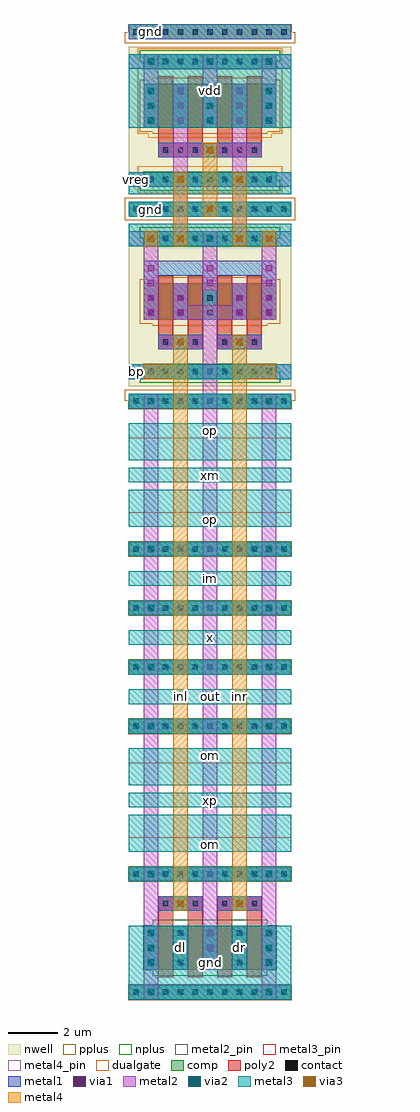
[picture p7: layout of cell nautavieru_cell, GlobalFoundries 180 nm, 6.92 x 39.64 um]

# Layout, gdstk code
import gdstk
lib = gdstk.Library(unit=1e-6, precision=1e-09)
def R(c, l, rs):  # rectangles x0, y0, x1, y1
    for r in rs: c.add(gdstk.rectangle(r[:2], r[2:], *l))
def A(c, l, x, y, w, h, nx, ny, dx, dy):  # array of equal rectangles
    R(c, l, [(x+i*dx, y+j*dy, x+i*dx+w, y+j*dy+h) for i in range(nx) for j in range(ny)])
nwell = (21, 0)
comp = (22, 0)
poly2 = (30, 0)
pplus = (31, 0)
nplus = (32, 0)
contact = (33, 0)
metal1 = (34, 0)
via1 = (35, 0)
metal2 = (36, 0)
metal2_pin = (36, 10)
via2 = (38, 0)
via3 = (40, 0)
metal3 = (42, 0)
metal3_pin = (42, 10)
metal4 = (46, 0)
metal4_pin = (46, 10)
dualgate = (55, 0)

nautavieru_cell = lib.new_cell('nautavieru_cell')
R(nautavieru_cell, nwell, [(-36,18.3,-29.4,24.9), (-36,26.1,-29.4,32.1)])
A(nautavieru_cell, comp, -36, 4.2, 6.6, 0.6, 1, 4, 0, 2.4)
R(nautavieru_cell, comp, [(-36,-6.6,-29.4,-6), (-35.4,-5.4,-30,-3.6), (-36,-1.8,-29.4,-1.2), (-36,17.4,-29.4,18), (-35.4,18.6,-30,19.2), (-35.4,21,-30,22.5), (-35.4,24,-30,24.6), (-36,25.2,-29.4,25.8), (-35.4,26.4,-30,27), (-35.4,28.8,-30,30.6), (-35.4,31.2,-30,31.8), (-36,32.4,-29.4,33)])
A(nautavieru_cell, poly2, -34.8, -5.7, 0.6, 2.7, 4, 2, 1.2, 33.9)
A(nautavieru_cell, poly2, -34.8, 20.4, 0.6, 2.4, 4, 1, 1.2, 0)
R(nautavieru_cell, poly2, [(-34.8,-3,-33,-2.4), (-32.4,-3,-30.6,-2.4), (-34.8,19.8,-33,20.4), (-32.4,19.8,-30.6,20.4), (-34.8,27.6,-30.6,28.2)])
A(nautavieru_cell, pplus, -36.02, 4.18, 6.64, 0.64, 1, 4, 0, 2.4)
R(nautavieru_cell, pplus, [(-36.02,-6.62,-29.38,-5.98), (-36.02,-1.82,-29.38,-1.18), (-36.02,17.38,-29.38,17.71), (-36.16,17.71,-29.24,18.16), (-35.03,20.77,-30.37,20.84), (-35.56,20.84,-29.84,22.66), (-35.03,22.66,-30.37,22.73), (-36.16,25.04,-29.24,25.96), (-35.03,28.57,-30.37,28.64), (-35.56,28.64,-29.84,30.76), (-35.03,30.76,-30.37,30.83), (-36.16,32.24,-29.24,32.69), (-36.02,32.69,-29.38,33.02)])
R(nautavieru_cell, nplus, [(-35.03,-5.63,-30.37,-5.42), (-35.42,-5.42,-29.98,-3.58), (-35.03,-3.58,-30.37,-3.37), (-35.56,18.44,-29.84,18.89), (-35.42,18.89,-29.98,19.22), (-35.42,23.98,-29.98,24.31), (-35.56,24.31,-29.84,24.76), (-35.56,26.24,-29.84,26.69), (-35.42,26.69,-29.98,27.02), (-35.42,31.18,-29.98,31.51), (-35.56,31.51,-29.84,31.96)])
A(nautavieru_cell, contact, -35.81, -6.41, 0.22, 0.22, 11, 2, 0.6, 4.8)
A(nautavieru_cell, contact, -35.21, -5.21, 0.22, 0.22, 5, 3, 1.2, 0.6)
A(nautavieru_cell, contact, -34.61, -2.81, 0.22, 0.22, 3, 2, 0.6, 22.8)
A(nautavieru_cell, contact, -32.21, -2.81, 0.22, 0.22, 3, 2, 0.6, 22.8)
A(nautavieru_cell, contact, -35.81, 4.39, 0.22, 0.22, 11, 4, 0.6, 2.4)
A(nautavieru_cell, contact, -35.81, 17.59, 0.22, 0.22, 11, 2, 0.6, 7.8)
A(nautavieru_cell, contact, -35.21, 18.79, 0.22, 0.22, 9, 2, 0.6, 5.4)
A(nautavieru_cell, contact, -35.21, 21.19, 0.22, 0.22, 5, 2, 1.2, 0.6)
A(nautavieru_cell, contact, -35.21, 26.59, 0.22, 0.22, 9, 2, 0.6, 4.8)
A(nautavieru_cell, contact, -34.61, 27.79, 0.22, 0.22, 7, 1, 0.6, 0)
A(nautavieru_cell, contact, -35.21, 28.99, 0.22, 0.22, 5, 3, 1.2, 0.6)
A(nautavieru_cell, contact, -35.81, 32.59, 0.22, 0.22, 11, 1, 0.6, 0)
A(nautavieru_cell, metal1, -35.4, -5.4, 0.6, 1.8, 5, 2, 1.2, 34.2)
A(nautavieru_cell, metal1, -36, 4.2, 6.6, 0.6, 1, 4, 0, 2.4)
A(nautavieru_cell, metal1, -35.4, 21, 0.6, 1.8, 3, 1, 2.4, 0)
A(nautavieru_cell, metal1, -36, 24, 6.6, 0.6, 1, 3, 0, 1.2)
R(nautavieru_cell, metal1, [(-36,-6.6,-29.4,-6), (-34.8,-3,-33,-2.4), (-32.4,-3,-30.6,-2.4), (-36,-1.8,-29.4,-1.2), (-36,17.4,-29.4,18), (-36,18.6,-29.4,19.2), (-34.8,19.8,-33,20.4), (-32.4,19.8,-30.6,20.4), (-34.2,21,-33.6,22.5), (-31.8,21,-31.2,22.5), (-35.4,22.8,-30,23.4), (-34.8,27.6,-30.6,28.2), (-36,31.2,-29.4,31.8), (-36,32.4,-29.4,33)])
A(nautavieru_cell, via1, -35.23, -5.23, 0.26, 0.26, 3, 3, 2.4, 0.6)
A(nautavieru_cell, via1, -35.23, 4.37, 0.26, 0.26, 1, 4, 0, 2.4)
A(nautavieru_cell, via1, -30.43, 4.37, 0.26, 0.26, 1, 4, 0, 2.4)
A(nautavieru_cell, via1, -35.23, 22.37, 0.26, 0.26, 3, 2, 2.4, 0.6)
A(nautavieru_cell, via1, -35.23, 28.97, 0.26, 0.26, 5, 3, 1.2, 0.6)
A(nautavieru_cell, via1, -35.23, 31.37, 0.26, 0.26, 3, 1, 2.4, 0)
R(nautavieru_cell, via1, [(-35.23,-6.43,-34.97,-6.17), (-30.43,-6.43,-30.17,-6.17), (-34.03,-2.83,-33.77,-2.57), (-31.63,-2.83,-31.37,-2.57), (-35.23,-1.63,-34.97,-1.37), (-30.43,-1.63,-30.17,-1.37), (-35.23,17.57,-34.97,17.83), (-30.43,17.57,-30.17,17.83), (-35.23,18.77,-34.97,19.03), (-30.43,18.77,-30.17,19.03), (-34.03,19.97,-33.77,20.23), (-31.63,19.97,-31.37,20.23), (-35.23,21.17,-34.97,21.43), (-34.03,21.17,-33.77,21.43), (-31.63,21.17,-31.37,21.43), (-30.43,21.17,-30.17,21.43), (-35.23,21.77,-34.97,22.03), (-34.03,21.77,-33.77,22.03), (-31.63,21.77,-31.37,22.03), (-30.43,21.77,-30.17,22.03), (-32.83,27.77,-32.57,28.03)])
A(nautavieru_cell, metal2, -35.4, 28.8, 0.6, 3, 3, 1, 2.4, 0)
R(nautavieru_cell, metal2, [(-35.4,-6.6,-34.8,18), (-30.6,-6.6,-30,18), (-33,-5.4,-32.4,21), (-34.2,-3,-33.6,-2.4), (-31.8,-3,-31.2,-2.4), (-35.4,18.6,-34.8,19.2), (-30.6,18.6,-30,19.2), (-34.2,19.8,-33.6,20.4), (-31.8,19.8,-31.2,20.4), (-35.4,21,-34.8,24.6), (-34.2,21,-31.2,21.6), (-30.6,21,-30,24.6), (-34.2,21.6,-33.6,22.5), (-31.8,21.6,-31.2,22.5), (-33,22.2,-32.4,24.6), (-34.2,24,-33.6,30.6), (-31.8,24,-31.2,30.6), (-33,27.6,-32.4,28.2)])
R(nautavieru_cell, metal2_pin, [(-33,-0.6,-32.4,12)])
A(nautavieru_cell, via2, -35.23, -5.23, 0.26, 0.26, 1, 3, 0, 0.6)
A(nautavieru_cell, via2, -30.43, -5.23, 0.26, 0.26, 1, 3, 0, 0.6)
A(nautavieru_cell, via2, -35.23, 4.37, 0.26, 0.26, 1, 4, 0, 2.4)
A(nautavieru_cell, via2, -30.43, 4.37, 0.26, 0.26, 1, 4, 0, 2.4)
A(nautavieru_cell, via2, -35.23, 24.17, 0.26, 0.26, 5, 1, 1.2, 0)
A(nautavieru_cell, via2, -35.23, 28.97, 0.26, 0.26, 3, 3, 2.4, 0.6)
A(nautavieru_cell, via2, -35.23, 31.37, 0.26, 0.26, 3, 1, 2.4, 0)
R(nautavieru_cell, via2, [(-35.23,-6.43,-34.97,-6.17), (-30.43,-6.43,-30.17,-6.17), (-34.03,-2.83,-33.77,-2.57), (-31.63,-2.83,-31.37,-2.57), (-35.23,-1.63,-34.97,-1.37), (-30.43,-1.63,-30.17,-1.37), (-35.23,17.57,-34.97,17.83), (-30.43,17.57,-30.17,17.83), (-35.23,18.77,-34.97,19.03), (-30.43,18.77,-30.17,19.03), (-34.03,19.97,-33.77,20.23), (-31.63,19.97,-31.37,20.23), (-34.03,26.57,-33.77,26.83), (-31.63,26.57,-31.37,26.83), (-32.83,27.77,-32.57,28.03)])
R(nautavieru_cell, via3, [(-34.03,-2.83,-33.77,-2.57), (-31.63,-2.83,-31.37,-2.57), (-34.03,19.97,-33.77,20.23), (-31.63,19.97,-31.37,20.23), (-35.23,24.17,-34.97,24.43), (-34.03,24.17,-33.77,24.43), (-31.63,24.17,-31.37,24.43), (-30.43,24.17,-30.17,24.43), (-32.83,25.37,-32.57,25.63), (-34.03,26.57,-33.77,26.83), (-31.63,26.57,-31.37,26.83), (-32.83,27.77,-32.57,28.03)])
A(nautavieru_cell, metal3, -36, -1.8, 6.6, 0.6, 1, 3, 0, 3)
A(nautavieru_cell, metal3, -36, 5.4, 6.6, 0.6, 1, 6, 0, 1.2)
R(nautavieru_cell, metal3, [(-36,-6.6,-29.4,-3.6), (-34.2,-3,-33.6,-2.4), (-31.8,-3,-31.2,-2.4), (-36,-0.6,-29.4,0.9), (-36,2.1,-29.4,3.6), (-36,12.6,-29.4,14.1), (-36,14.4,-29.4,15), (-36,15.3,-29.4,16.8), (-36,17.4,-29.4,18), (-36,18.6,-29.4,19.2), (-34.2,19.8,-33.6,20.4), (-31.8,19.8,-31.2,20.4), (-36,24,-29.4,24.9), (-36,25.2,-29.4,25.8), (-36,26.1,-29.4,27), (-33,27.6,-32.4,28.2), (-36,28.8,-29.4,31.8)])
A(nautavieru_cell, metal3_pin, -36, -0.6, 6.6, 0.6, 1, 3, 0, 1.8)
A(nautavieru_cell, metal3_pin, -36, 5.4, 6.6, 0.6, 1, 4, 0, 2.4)
R(nautavieru_cell, metal3_pin, [(-36,-6.6,-29.4,-3.6), (-36,14.4,-29.4,15), (-36,16.2,-29.4,16.8), (-36,18.6,-35.4,19.2), (-36,25.2,-35.4,25.8), (-36,26.4,-35.4,27), (-36,28.8,-29.4,31.8)])
R(nautavieru_cell, metal4, [(-34.2,-3,-33.6,18.6), (-31.8,-3,-31.2,18.6), (-35.4,18.6,-33.6,19.2), (-31.8,18.6,-30,19.2), (-34.2,19.2,-33.6,20.4), (-31.8,19.2,-31.2,20.4), (-35.4,24,-34.8,24.6), (-34.2,24,-33.6,27), (-31.8,24,-31.2,27), (-30.6,24,-30,24.6), (-33,25.2,-32.4,28.2)])
R(nautavieru_cell, metal4_pin, [(-34.2,-0.6,-33.6,12), (-31.8,-0.6,-31.2,12)])
R(nautavieru_cell, dualgate, [(-35.64,26.16,-29.76,27.24), (-35.2,28.4,-30.2,28.56), (-35.64,28.56,-29.76,32.04)])
nautavieru_cell.add(gdstk.Label('dl', (-33.9,-4.5), layer=34, texttype=0))
nautavieru_cell.add(gdstk.Label('dr', (-31.5,-4.5), layer=34, texttype=0))
nautavieru_cell.add(gdstk.Label('gnd', (-35.1,25.5), layer=34, texttype=0))
nautavieru_cell.add(gdstk.Label('gnd', (-35.1,32.7), layer=34, texttype=0))
nautavieru_cell.add(gdstk.Label('inl', (-33.9,5.7), layer=46, texttype=10))
nautavieru_cell.add(gdstk.Label('inr', (-31.5,5.7), layer=46, texttype=10))
nautavieru_cell.add(gdstk.Label('out', (-32.7,5.7), layer=36, texttype=10))
nautavieru_cell.add(gdstk.Label('vdd', (-32.7,30.3), layer=42, texttype=10))
nautavieru_cell.add(gdstk.Label('gp', (-35.7,25.5), layer=42, texttype=10))
nautavieru_cell.add(gdstk.Label('bp', (-35.7,18.9), layer=42, texttype=10))
nautavieru_cell.add(gdstk.Label('vreg', (-35.7,26.7), layer=42, texttype=10))
nautavieru_cell.add(gdstk.Label('op', (-32.7,16.5), layer=42, texttype=10))
nautavieru_cell.add(gdstk.Label('op', (-32.7,12.9), layer=42, texttype=10))
nautavieru_cell.add(gdstk.Label('xm', (-32.7,14.7), layer=42, texttype=10))
nautavieru_cell.add(gdstk.Label('im', (-32.7,10.5), layer=42, texttype=10))
nautavieru_cell.add(gdstk.Label('ip', (-32.7,5.7), layer=42, texttype=10))
nautavieru_cell.add(gdstk.Label('xp', (-32.7,1.5), layer=42, texttype=10))
nautavieru_cell.add(gdstk.Label('gnd', (-32.7,-5.1), layer=42, texttype=10))
nautavieru_cell.add(gdstk.Label('om', (-32.7,-0.3), layer=42, texttype=10))
nautavieru_cell.add(gdstk.Label('om', (-32.7,3.3), layer=42, texttype=10))
nautavieru_cell.add(gdstk.Label('x', (-32.7,8.1), layer=42, texttype=10))

lib.write_gds('nautavieru_cell.gds')
